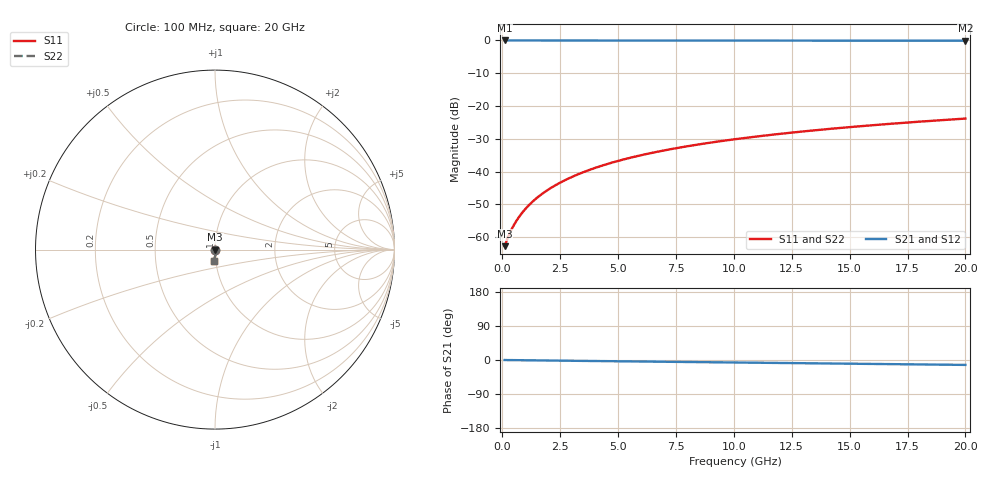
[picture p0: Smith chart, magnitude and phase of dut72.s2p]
! Touchstone file exported from HFSS 2026.1.0
!  File:  C:/ffzhzh/LocalFiles/Ansys_Project_Files/temp_train_BSMRDL_72_1782882935_43084.aedt
!  Generated:  01:16:40 PM Jul  1, 2026
!  Design:  BSMRDL
!  Project:  temp_train_BSMRDL_72_1782882935_43084
! Variables:
!  h_bsmrdl = 5.9um
!  h_ox = 20um
!  h_rdl = 5um
!  h_sub = 80um
!  h_tmrdl = 5um
!  h_tsv = 80um
!  h_via = 3um
!  l_bsmrdl = 216.5um
!  l_sub = 616.5um
!  l_tmrdl = 200um
!  m_sub = 200um
!  pitch = 28.01um
!  r_tsv = 6um
!  s_tmrdl = 10um
!  w_bsmrdl = 25.12um
!  w_sub = 500um
!  w_tmrdl = 12um
!  x_tsv_center1 = 206um
!  x_tsv_center2 = 447.62um
!  x_tsv_center3 = 659.62um
!  x_tsv_center4 = 901.24um
!  x_tsv_center5 = 1113.24um
!  x_tsv_center6 = 1354.86um
# GHz S MA R 50.000000
! Terminal data exported
! Port[1] = BSM_RDL1_1_T1
! Port[2] = BSM_RDL1_1_T2
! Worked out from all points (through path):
!   200 points, 100 MHz to 20 GHz, reference 50 ohm
!   highest |S21| = -0.01 dB at 100 MHz (marker M1); lowest = -0.1 dB at 20 GHz (marker M2)
!   group delay of S21, straight-line fit = 1.79 ps
!   lowest |S11| = -62.7 dB at 100 MHz (marker M3), VSWR 1.00, Z = 50.1 - j0.00329 ohm
!   |S11| at or under -10 dB: start of sweep to end of sweep
!   |S22| runs from -62.7 to -23.8 dB; largest |S21 - S12| = 4e-15
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0.1  0.0007292 -2.6  0.9993 -0.1  0.9993 -0.1  0.0007292 -2.6
! Gamma 0 0 0 0
! Port Impedance 50 0 50 0
0.2  0.0009111 -12.5  0.9991 -0.2  0.9991 -0.2  0.0009111 -12.5
0.3  0.001109 -23.8  0.999 -0.2  0.999 -0.2  0.001109 -23.8
0.4  0.001314 -33.3  0.9989 -0.3  0.9989 -0.3  0.001314 -33.3
0.6  0.001751 -46.7  0.9988 -0.4  0.9988 -0.4  0.00175 -46.7
0.9  0.002457 -58.0  0.9987 -0.6  0.9987 -0.6  0.002457 -58.0
1.1  0.002953 -62.4  0.9986 -0.8  0.9986 -0.8  0.002953 -62.4
1.3  0.003465 -65.5  0.9985 -0.9  0.9985 -0.9  0.003465 -65.5
1.7  0.004527 -69.6  0.9983 -1.2  0.9983 -1.2  0.004527 -69.6
2.2  0.005918 -72.6  0.9981 -1.5  0.9981 -1.5  0.005918 -72.6
2.8  0.007668 -75.0  0.9977 -1.9  0.9977 -1.9  0.007668 -75.0
3.5  0.009795 -76.9  0.9973 -2.4  0.9973 -2.4  0.009795 -76.9
4.2  0.01199 -78.5  0.997 -2.8  0.997 -2.8  0.01199 -78.5
5  0.01455 -80.1  0.9966 -3.4  0.9966 -3.4  0.01455 -80.1
5.9  0.01747 -81.7  0.9961 -3.9  0.9961 -3.9  0.01747 -81.7
6.8  0.02042 -83.1  0.9957 -4.5  0.9957 -4.5  0.02042 -83.1
8.3  0.02537 -85.2  0.9951 -5.5  0.9951 -5.5  0.02537 -85.2
10.1  0.03134 -87.3  0.9944 -6.6  0.9944 -6.6  0.03133 -87.3
11.7  0.03666 -89.0  0.9938 -7.7  0.9938 -7.7  0.03666 -89.0
13.4  0.04233 -90.7  0.9931 -8.8  0.9931 -8.8  0.04232 -90.7
16.7  0.05334 -93.6  0.9918 -10.9  0.9918 -10.9  0.05333 -93.6
20  0.06433 -96.3  0.9904 -13.0  0.9904 -13.0  0.06432 -96.3
